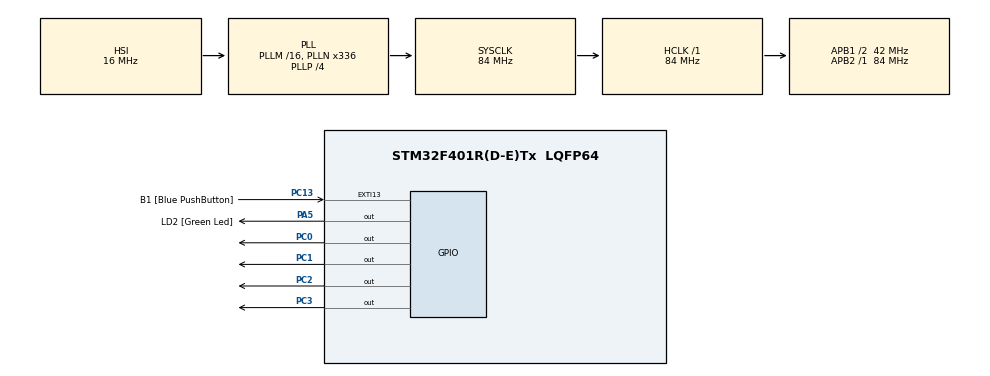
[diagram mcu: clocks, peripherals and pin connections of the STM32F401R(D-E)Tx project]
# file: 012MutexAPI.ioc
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Mcu.Family=STM32F4
Mcu.Name=STM32F401R(D-E)Tx
Mcu.Package=LQFP64
NVIC.EXTI15_10_IRQn=true\:7\:0\:true\:false\:true\:true\:true\:true
NVIC.PriorityGroup=NVIC_PRIORITYGROUP_4
NVIC.TIM2_IRQn=true\:15\:0\:false\:false\:true\:false\:true\:true
NVIC.TimeBase=TIM2_IRQn
NVIC.TimeBaseIP=TIM2
PA13.GPIO_Label=TMS
PA13.Signal=SYS_JTMS-SWDIO
PA14.GPIO_Label=TCK
PA14.Signal=SYS_JTCK-SWCLK
PA2.GPIO_Label=USART_TX
PA2.GPIO_Mode=GPIO_MODE_AF_PP
PA2.GPIO_PuPd=GPIO_NOPULL
PA2.GPIO_Speed=GPIO_SPEED_FREQ_LOW
PA2.Signal=USART2_TX
PA3.GPIO_Label=USART_RX
PA3.GPIO_Mode=GPIO_MODE_AF_PP
PA3.GPIO_PuPd=GPIO_NOPULL
PA3.GPIO_Speed=GPIO_SPEED_FREQ_LOW
PA3.Signal=USART2_RX
PA5.GPIO_Label=LD2 [Green Led]
PA5.GPIO_Mode=GPIO_MODE_OUTPUT_PP
PA5.GPIO_PuPd=GPIO_NOPULL
PA5.GPIO_Speed=GPIO_SPEED_FREQ_LOW
PA5.Signal=GPIO_Output
PB3.GPIO_Label=SWO
PB3.Signal=SYS_JTDO-SWO
PC0.Signal=GPIO_Output
PC1.Signal=GPIO_Output
PC13-ANTI_TAMP.GPIO_Label=B1 [Blue PushButton]
PC13-ANTI_TAMP.GPIO_ModeDefaultEXTI=GPIO_MODE_IT_FALLING
PC13-ANTI_TAMP.GPIO_PuPd=GPIO_NOPULL
PC13-ANTI_TAMP.Signal=GPXTI13
PC14-OSC32_IN.Signal=RCC_OSC32_IN
PC15-OSC32_OUT.Signal=RCC_OSC32_OUT
PC2.Signal=GPIO_Output
PC3.Signal=GPIO_Output
PH0\ -\ OSC_IN.Signal=RCC_OSC_IN
PH1\ -\ OSC_OUT.Signal=RCC_OSC_OUT
ProjectManager.HeapSize=0x200
ProjectManager.StackSize=0x400
ProjectManager.TargetToolchain=STM32CubeIDE
RCC.AHBFreq_Value=84000000
RCC.APB1CLKDivider=RCC_HCLK_DIV2
RCC.APB1Freq_Value=42000000
RCC.APB1TimFreq_Value=84000000
RCC.APB2Freq_Value=84000000
RCC.APB2TimFreq_Value=84000000
RCC.CortexFreq_Value=84000000
RCC.HCLKFreq_Value=84000000
RCC.HSE_VALUE=8000000
RCC.HSI_VALUE=16000000
RCC.LSE_VALUE=32768
RCC.PLLN=336
RCC.PLLP=RCC_PLLP_DIV4
RCC.PLLQ=7
RCC.SYSCLKFreq_VALUE=84000000
RCC.SYSCLKSource=RCC_SYSCLKSOURCE_PLLCLK
RCC.VCOOutputFreq_Value=336000000
VP_SYS_VS_tim2.Mode=TIM2
board=NUCLEO-F401RE

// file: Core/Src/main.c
/* USER CODE BEGIN Header */
/**
  ******************************************************************************
  * @file           : main.c
  * @brief          : Main program body
  ******************************************************************************
  * @attention
  *
  * Copyright (c) 2026 STMicroelectronics.
  * All rights reserved.
  *
  * This software is licensed under terms that can be found in the LICENSE file
  * in the root directory of this software component.
  * If no LICENSE file comes with this software, it is provided AS-IS.
  *
  ******************************************************************************
  */
/* USER CODE END Header */
#include "main.h"

/* USER CODE BEGIN Includes */
#include "FreeRTOS.h"
#include "task.h"
#include "semphr.h"
#include <stdio.h>
#include <string.h>

extern void SEGGER_UART_init(uint32_t baud);
/* USER CODE END Includes */

/* USER CODE BEGIN PD */
#define DWT_CTRL (*(volatile uint32_t*)0xE0001000)

#define USE_MUTEX 0

#define mainMAX_MSG_LEN 80
/* USER CODE END PD */

/* USER CODE BEGIN PV */
SemaphoreHandle_t xMutex;
char usr_msg[128];
/* USER CODE END PV */

void SystemClock_Config(void);
static void MX_GPIO_Init(void);
/* USER CODE BEGIN PFP */
void PrintTask1(void *params);
void PrintTask2(void *params);
void printmsg(char *msg);
/* USER CODE END PFP */

/* USER CODE BEGIN 0 */
void printmsg(char *msg)
{
    SEGGER_SYSVIEW_PrintfTarget("%s", msg);
}
/* USER CODE END 0 */

int main(void)
{

  /* MCU Configuration--------------------------------------------------------*/

  /* Reset of all peripherals, Initializes the Flash interface and the Systick. */
  HAL_Init();

  /* Configure the system clock */
  SystemClock_Config();

  /* Initialize all configured peripherals */
  MX_GPIO_Init();
  /* USER CODE BEGIN 2 */
  SEGGER_UART_init(500000);

  DWT->CTRL |= (1 << 0);

  SEGGER_SYSVIEW_Conf();

  //SEGGER_SYSVIEW_Start();

  sprintf(usr_msg, "\r\nMutex demo starting...\r\n");
  printmsg(usr_msg);

  xMutex = xSemaphoreCreateMutex();

  if(xMutex != NULL)
  {
      xTaskCreate(PrintTask1, "Print1", 256, NULL, 1, NULL);

      xTaskCreate(PrintTask2, "Print2", 256, NULL, 2, NULL);

      vTaskStartScheduler();
  }
  /* USER CODE END 2 */

  /* Infinite loop */
  while (1)
  {

  }
}

void SystemClock_Config(void)
{
  RCC_OscInitTypeDef RCC_OscInitStruct = {0};
  RCC_ClkInitTypeDef RCC_ClkInitStruct = {0};

  /** Configure the main internal regulator output voltage
  */
  __HAL_RCC_PWR_CLK_ENABLE();
  __HAL_PWR_VOLTAGESCALING_CONFIG(PWR_REGULATOR_VOLTAGE_SCALE2);

  /** Initializes the RCC Oscillators according to the specified parameters
  * in the RCC_OscInitTypeDef structure.
  */
  RCC_OscInitStruct.OscillatorType = RCC_OSCILLATORTYPE_HSI;
  RCC_OscInitStruct.HSIState = RCC_HSI_ON;
  RCC_OscInitStruct.HSICalibrationValue = RCC_HSICALIBRATION_DEFAULT;
  RCC_OscInitStruct.PLL.PLLState = RCC_PLL_ON;
  RCC_OscInitStruct.PLL.PLLSource = RCC_PLLSOURCE_HSI;
  RCC_OscInitStruct.PLL.PLLM = 16;
  RCC_OscInitStruct.PLL.PLLN = 336;
  RCC_OscInitStruct.PLL.PLLP = RCC_PLLP_DIV4;
  RCC_OscInitStruct.PLL.PLLQ = 7;
  if (HAL_RCC_OscConfig(&RCC_OscInitStruct) != HAL_OK)
  {
    Error_Handler();
  }

  /** Initializes the CPU, AHB and APB buses clocks
  */
  RCC_ClkInitStruct.ClockType = RCC_CLOCKTYPE_HCLK|RCC_CLOCKTYPE_SYSCLK
                              |RCC_CLOCKTYPE_PCLK1|RCC_CLOCKTYPE_PCLK2;
  RCC_ClkInitStruct.SYSCLKSource = RCC_SYSCLKSOURCE_PLLCLK;
  RCC_ClkInitStruct.AHBCLKDivider = RCC_SYSCLK_DIV1;
  RCC_ClkInitStruct.APB1CLKDivider = RCC_HCLK_DIV2;
  RCC_ClkInitStruct.APB2CLKDivider = RCC_HCLK_DIV1;

  if (HAL_RCC_ClockConfig(&RCC_ClkInitStruct, FLASH_LATENCY_2) != HAL_OK)
  {
    Error_Handler();
  }
}

static void MX_GPIO_Init(void)
{
  GPIO_InitTypeDef GPIO_InitStruct = {0};

  /* GPIO Ports Clock Enable */
  __HAL_RCC_GPIOC_CLK_ENABLE();
  __HAL_RCC_GPIOH_CLK_ENABLE();
  __HAL_RCC_GPIOA_CLK_ENABLE();
  __HAL_RCC_GPIOB_CLK_ENABLE();

  /*Configure GPIO pin Output Level */
  HAL_GPIO_WritePin(GPIOC, GPIO_PIN_0|GPIO_PIN_1|GPIO_PIN_2|GPIO_PIN_3, GPIO_PIN_RESET);

  /*Configure GPIO pin Output Level */
  HAL_GPIO_WritePin(LD2_GPIO_Port, LD2_Pin, GPIO_PIN_RESET);

  /*Configure GPIO pin : B1_Pin */
  GPIO_InitStruct.Pin = B1_Pin;
  GPIO_InitStruct.Mode = GPIO_MODE_IT_FALLING;
  GPIO_InitStruct.Pull = GPIO_NOPULL;
  HAL_GPIO_Init(B1_GPIO_Port, &GPIO_InitStruct);

  /*Configure GPIO pins : PC0 PC1 PC2 PC3 */
  GPIO_InitStruct.Pin = GPIO_PIN_0|GPIO_PIN_1|GPIO_PIN_2|GPIO_PIN_3;
  GPIO_InitStruct.Mode = GPIO_MODE_OUTPUT_PP;
  GPIO_InitStruct.Pull = GPIO_NOPULL;
  GPIO_InitStruct.Speed = GPIO_SPEED_FREQ_LOW;
  HAL_GPIO_Init(GPIOC, &GPIO_InitStruct);

  /*Configure GPIO pins : USART_TX_Pin USART_RX_Pin */
  GPIO_InitStruct.Pin = USART_TX_Pin|USART_RX_Pin;
  GPIO_InitStruct.Mode = GPIO_MODE_AF_PP;
  GPIO_InitStruct.Pull = GPIO_NOPULL;
  GPIO_InitStruct.Speed = GPIO_SPEED_FREQ_LOW;
  GPIO_InitStruct.Alternate = GPIO_AF7_USART2;
  HAL_GPIO_Init(GPIOA, &GPIO_InitStruct);

  /*Configure GPIO pin : LD2_Pin */
  GPIO_InitStruct.Pin = LD2_Pin;
  GPIO_InitStruct.Mode = GPIO_MODE_OUTPUT_PP;
  GPIO_InitStruct.Pull = GPIO_NOPULL;
  GPIO_InitStruct.Speed = GPIO_SPEED_FREQ_LOW;
  HAL_GPIO_Init(LD2_GPIO_Port, &GPIO_InitStruct);

  /* EXTI interrupt init*/
  HAL_NVIC_SetPriority(EXTI15_10_IRQn, 7, 0);
  HAL_NVIC_EnableIRQ(EXTI15_10_IRQn);

}

/* USER CODE BEGIN 4 */
void PrintTask1(void *params)
{
    char *text = "Task1 ******************************************\r\n";

    while(1)
    {
        xSemaphoreTake(xMutex, portMAX_DELAY);

        printmsg(text);

        xSemaphoreGive(xMutex);

        vTaskDelay(pdMS_TO_TICKS(500));
    }
}

void PrintTask2(void *params)
{
    char *text = "Task2 ------------------------------------------\r\n";

    while(1)
    {
        xSemaphoreTake(xMutex, portMAX_DELAY);

        printmsg(text);

        xSemaphoreGive(xMutex);

        vTaskDelay(pdMS_TO_TICKS(500));
    }
}
/* USER CODE END 4 */

void HAL_TIM_PeriodElapsedCallback(TIM_HandleTypeDef *htim)
{
  if (htim->Instance == TIM2) {
    HAL_IncTick();
  }
}

void Error_Handler(void)
{
  __disable_irq();
  while (1)
  {
  }
}
